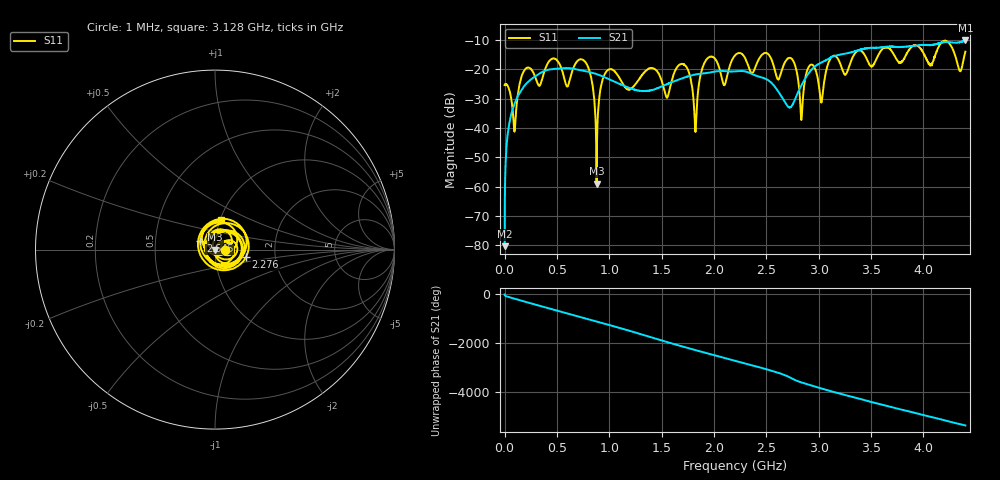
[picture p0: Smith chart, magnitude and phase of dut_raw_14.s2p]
!Created with skrf (http://scikit-rf.org).
# Hz S RI R 50.0
!freq ReS11 ImS11 ReS21 ImS21 ReS12 ImS12 ReS22 ImS22
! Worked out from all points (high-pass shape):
!   4400 points, 1 MHz to 4.4 GHz, reference 50 ohm
!   highest |S21| = -10.10 dB at 4.4 GHz (marker M1); lowest = -80.3 dB at 1 MHz (marker M2)
!   |S21| within 3 dB of the highest: 3.408866 GHz to 3.410015 GHz (1.149 MHz wide, 0.0337 % of centre); 3.417 GHz to end of sweep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
!   lowest |S11| = -59.0 dB at 879 MHz (marker M3), VSWR 1.00, Z = 50.1 - j0.00806 ohm
!   |S11| at or under -10 dB: start of sweep to end of sweep
!   S12 and S22 are empty: the file has one direction only
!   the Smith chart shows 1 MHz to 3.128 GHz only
!   S11 on the Smith chart (normalised r, x): 1 MHz: 1.11, +0.00; 2.276 GHz: 1.41, -0.12; 2.645 GHz: 0.85, +0.08; 3.128 GHz: 1.02, +0.34
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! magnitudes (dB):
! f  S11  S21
! 1 MHz  -25.4  -80.3
! 38 MHz  -26.2  -40.1
! 94 MHz  -41.1  -31.8
! 137 MHz  -26.2  -28.4
! 735 MHz  -16.5  -20.3
! 879 MHz  -59.0  -21.6
! 985 MHz  -20.2  -23.1
! 1.468 GHz  -21.2  -26.3
! 1.724 GHz  -18.6  -22.7
! 1.823 GHz  -41.4  -21.7
! 1.925 GHz  -16.8  -21.3
! 2.098 GHz  -25.3  -20.5
! 2.201 GHz  -15.2  -20.6
! 2.276 GHz  -15.0  -20.6
! 2.645 GHz  -20.5  -29.3
! 2.753 GHz  -16.9  -31.8
! 2.835 GHz  -37.2  -25.4
! 2.934 GHz  -18.4  -19.9
! 3.025 GHz  -31.3  -17.6
! 3.128 GHz  -15.6  -15.7
! 3.667 GHz  -12.6  -12.2
! 4.4 GHz  -13.9  -10.1
